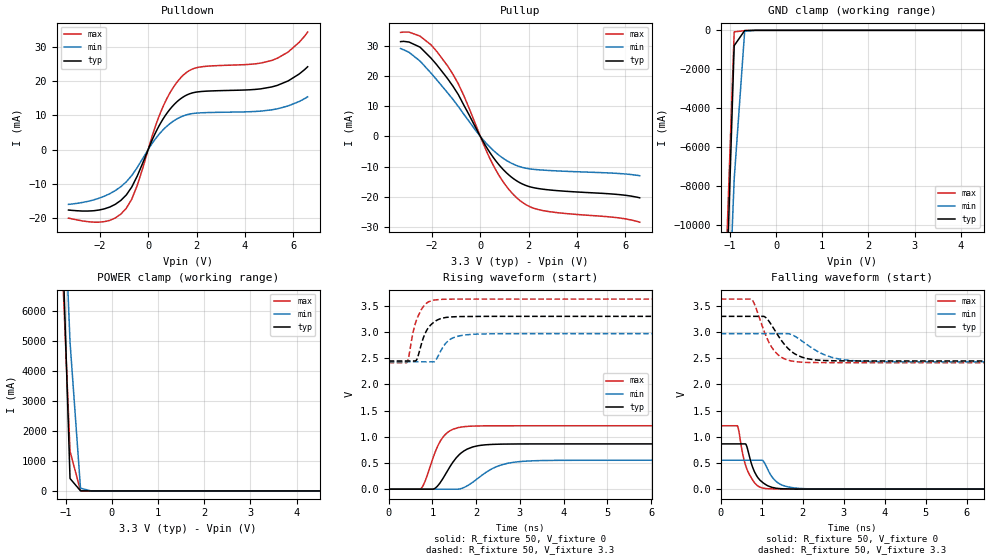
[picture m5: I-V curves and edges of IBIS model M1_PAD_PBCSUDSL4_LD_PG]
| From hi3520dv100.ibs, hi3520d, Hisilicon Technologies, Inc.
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[Model] M1_PAD_PBCSUDSL4_LD_PG
Model_type I/O
Vinl  =  0.8
Vinh  =  2
| Capacitance   typ   min   max
C_comp   3.57061683089e-12   3.82895417095e-12   3.34958467437e-12
| Variables   typ   min   max
[GND Clamp Reference]   0   0   0
[POWER Clamp Reference]   3.3   2.97   3.63
[Pulldown Reference]   0   0   0
[Pullup Reference]   3.3   2.97   3.63
[Temperature Range]   25   125   -40
[Voltage Range]   3.3   2.97   3.63
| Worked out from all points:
|   slope of the pulldown table from 0 to 0.495 V, typ, clamps not added: 66.2 ohm
|   slope of the pullup table from 0 to 0.495 V, typ, clamps not added: 76.4 ohm
|   GND clamp passes 1 mA (typ) near -0.47 V on its own axis
|   POWER clamp passes 1 mA (typ) near -0.51 V on its own axis
|   falling waveform, R_fixture 50, V_fixture 0: 20-80 % time 278ps typ, 311ps min, 255ps max; typ from 0.864 V to 0 V
|   falling waveform, R_fixture 50, V_fixture 3.3: 20-80 % time 502ps typ, 703ps min, 397ps max; typ from 3.3 V to 2.45 V
|   rising waveform, R_fixture 50, V_fixture 0: 20-80 % time 442ps typ, 622ps min, 349ps max; typ from 0 V to 0.864 V
|   rising waveform, R_fixture 50, V_fixture 3.3: 20-80 % time 257ps typ, 283ps min, 236ps max; typ from 2.45 V to 3.3 V
[GND Clamp]
| Voltage   I(typ)   I(min)   I(max)
-3.3V     -188.8A    -149A      -233.7A
-1.134V   -17.95A    -21.05A    -15.29A
-907.5mV  -786.7mA   -7.652A    -79.55mA
-680.6mV  -11.81mA   -50.68mA   -16.41mA
-453.7mV  -314.5uA   -586.9uA   -272.1uA
6.6V      0A         0A         0A
[POWER Clamp]
| Voltage   I(typ)   I(min)   I(max)
-3.3V     123.1A     97.09A     152.4A
-1.134V   11.45A     13.48A     9.697A
-907.5mV  415.2mA    4.97A      1.325A
-680.6mV  3.601mA    92.24mA    5.251mA
-453.7mV  104.3uA    865.1uA    659.7uA
6.6V      0A         0A         0A
[Pulldown]
| Voltage   I(typ)   I(min)   I(max)
-3.3V     -17.66mA   -16.01mA   -20.02mA
-1.815V   -17.32mA   -13.63mA   -21.05mA
-907.5mV  -13.27mA   -9.444mA   -17.14mA
-453.7mV  -7.746mA   -5.254mA   -10.47mA
206.2mV   3.455mA    2.219mA    4.867mA
618.8mV   8.948mA    5.758mA    12.58mA
1.083V    13.2mA     8.478mA    18.59mA
1.547V    15.74mA    10.04mA    22.28mA
2.217V    16.94mA    10.72mA    24.15mA
5.115V    18.27mA    11.58mA    26.01mA
5.796V    20.03mA    12.73mA    28.47mA
6.6V      24.15mA    15.38mA    34.27mA
[Pullup]
| Voltage   I(typ)   I(min)   I(max)
-3.3V     31.29mA    29mA       34.33mA
-2.949V   31.15mA    27.76mA    34.43mA
-2.496V   29.47mA    24.88mA    33.12mA
-2.042V   25.86mA    20.92mA    30.25mA
-1.361V   19.16mA    14.46mA    23.35mA
-680.6mV  10.3mA     7.289mA    13.43mA
103.1mV   -1.496mA   -995.3uA   -2.055mA
567.2mV   -7.289mA   -4.847mA   -9.992mA
1.083V    -12.03mA   -7.966mA   -16.52mA
1.65V     -15.37mA   -10.05mA   -21.26mA
2.63V     -17.5mA    -11.17mA   -24.57mA
6.6V      -20.31mA   -13mA      -28.36mA
[Ramp]
dV/dt_r   0.518643/0.441653n  0.331506/0.62169n  0.726593/0.348693n
dV/dt_f   0.511418/0.502392n  0.323319/0.703138n  0.728969/0.396949n
R_load = 50
[Falling Waveform]
R_fixture = 50
V_fixture = 0
V_fixture_min = 0
V_fixture_max = 0
| Time   V(typ)   V(min)   V(max)
0s        864.4mV    552.5mV    1.211V
407.9ps   864.4mV    552.5mV    1.211V
613.3ps   859.8mV    552.5mV    440.7mV
836.7ps   313mV      552.5mV    110.9mV
1.031ns   123mV      546mV      19.94mV
1.246ns   35.61mV    240.4mV    6.356mV
1.401ns   14.01mV    118.7mV    1.855mV
1.815ns   2.018mV    21.94mV    1.847mV
2.958ns   1.895mV    723.6uV    1.826mV
100ns     8.113nV    59.58nV    17.96nV
[Falling Waveform]
R_fixture = 50
V_fixture = 3.3
V_fixture_min = 2.97
V_fixture_max = 3.63
| Time   V(typ)   V(min)   V(max)
0s        3.3V       2.97V      3.63V
748.5ps   3.3V       2.97V      3.63V
854.7ps   3.3V       2.97V      3.474V
1.084ns   3.286V     2.97V      2.967V
1.345ns   3.002V     2.97V      2.607V
1.764ns   2.606V     2.939V     2.444V
2.18ns    2.483V     2.72V      2.418V
2.88ns    2.45V      2.487V     2.415V
4.454ns   2.448V     2.432V     2.415V
100ns     2.448V     2.431V     2.415V
[Rising Waveform]
R_fixture = 50
V_fixture = 0
V_fixture_min = 0
V_fixture_max = 0
| Time   V(typ)   V(min)   V(max)
0s        7.866nV    56.88nV    21.27nV
726.7ps   7.866nV    56.88nV    21.27nV
839.2ps   7.866nV    56.88nV    163mV
1.044ns   7.978mV    56.88nV    661.8mV
1.295ns   278.6mV    56.88nV    1.044V
1.654ns   687.9mV    10.44mV    1.184V
2.18ns    843.9mV    293.4mV    1.209V
2.854ns   862.3mV    513.1mV    1.21V
4.379ns   864.4mV    551.7mV    1.211V
100ns     864.4mV    552.5mV    1.211V
[Rising Waveform]
R_fixture = 50
V_fixture = 3.3
V_fixture_min = 2.97
V_fixture_max = 3.63
| Time   V(typ)   V(min)   V(max)
0s        2.448V     2.431V     2.415V
418.9ps   2.448V     2.431V     2.416V
566.6ps   2.448V     2.431V     3.02V
637.3ps   2.465V     2.431V     3.23V
855.3ps   3.007V     2.431V     3.544V
1.051ns   3.198V     2.439V     3.613V
1.29ns    3.275V     2.77V      3.627V
1.51ns    3.292V     2.901V     3.629V
3.42ns    3.3V       2.97V      3.629V
100ns     3.3V       2.97V      3.63V
